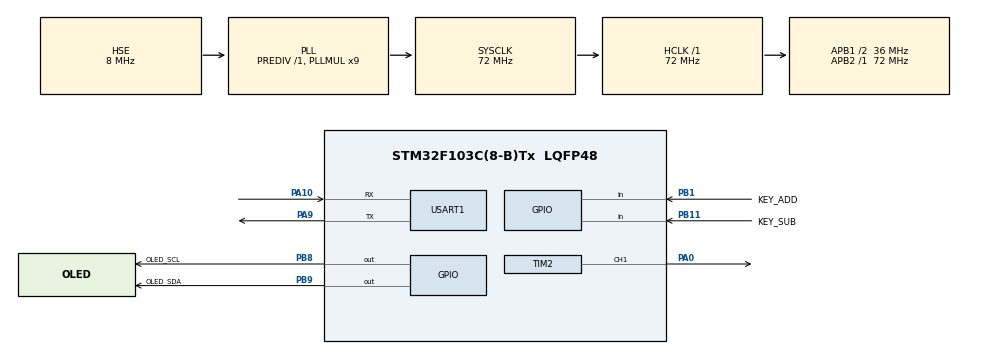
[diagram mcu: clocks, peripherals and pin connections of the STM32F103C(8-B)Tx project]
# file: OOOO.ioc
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Mcu.Family=STM32F1
Mcu.Name=STM32F103C(8-B)Tx
Mcu.Package=LQFP48
NVIC.PriorityGroup=NVIC_PRIORITYGROUP_4
PA0-WKUP.Signal=S_TIM2_CH1_ETR
PA10.Mode=Asynchronous
PA10.Signal=USART1_RX
PA13.Mode=Serial_Wire
PA13.Signal=SYS_JTMS-SWDIO
PA14.Mode=Serial_Wire
PA14.Signal=SYS_JTCK-SWCLK
PA9.Mode=Asynchronous
PA9.Signal=USART1_TX
PB1.GPIO_Label=KEY_ADD
PB1.GPIO_PuPd=GPIO_PULLUP
PB1.Signal=GPIO_Input
PB11.GPIO_Label=KEY_SUB
PB11.GPIO_PuPd=GPIO_PULLUP
PB11.Signal=GPIO_Input
PB8.GPIO_Label=OLED_SCL
PB8.GPIO_ModeDefaultOutputPP=GPIO_MODE_OUTPUT_OD
PB8.GPIO_PuPd=GPIO_NOPULL
PB8.PinState=GPIO_PIN_SET
PB8.Signal=GPIO_Output
PB9.GPIO_Label=OLED_SDA
PB9.GPIO_ModeDefaultOutputPP=GPIO_MODE_OUTPUT_OD
PB9.GPIO_PuPd=GPIO_NOPULL
PB9.PinState=GPIO_PIN_SET
PB9.Signal=GPIO_Output
PD0-OSC_IN.Mode=HSE-External-Oscillator
PD0-OSC_IN.Signal=RCC_OSC_IN
PD1-OSC_OUT.Mode=HSE-External-Oscillator
PD1-OSC_OUT.Signal=RCC_OSC_OUT
ProjectManager.HeapSize=0x200
ProjectManager.StackSize=0x400
ProjectManager.TargetToolchain=STM32CubeIDE
RCC.AHBFreq_Value=72000000
RCC.APB1CLKDivider=RCC_HCLK_DIV2
RCC.APB1Freq_Value=36000000
RCC.APB1TimFreq_Value=72000000
RCC.APB2Freq_Value=72000000
RCC.APB2TimFreq_Value=72000000
RCC.HCLKFreq_Value=72000000
RCC.PLLMUL=RCC_PLL_MUL9
RCC.PLLSourceVirtual=RCC_PLLSOURCE_HSE
RCC.SYSCLKFreq_VALUE=72000000
RCC.SYSCLKSource=RCC_SYSCLKSOURCE_PLLCLK
RCC.USBFreq_Value=72000000
SH.S_TIM2_CH1_ETR.0=TIM2_CH1,PWM Generation1 CH1
TIM2.AutoReloadPreload=TIM_AUTORELOAD_PRELOAD_ENABLE
TIM2.Channel-PWM\ Generation1\ CH1=TIM_CHANNEL_1
TIM2.Period=19999
TIM2.Prescaler=71
TIM2.Pulse-PWM\ Generation1\ CH1=1500
USART1.VirtualMode=VM_ASYNC
VP_TIM2_VS_ClockSourceINT.Mode=Internal
board=custom

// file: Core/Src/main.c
/* USER CODE BEGIN Header */
/**
  ******************************************************************************
  * @file           : main.c
  * @brief          : Main program body
  ******************************************************************************
  * @attention
  *
  * Copyright (c) 2026 STMicroelectronics.
  * All rights reserved.
  *
  * This software is licensed under terms that can be found in the LICENSE file
  * in the root directory of this software component.
  * If no LICENSE file comes with this software, it is provided AS-IS.
  *
  ******************************************************************************
  */
/* USER CODE END Header */
#include "main.h"
#include "tim.h"
#include "usart.h"
#include "gpio.h"

/* USER CODE BEGIN Includes */
#include "OLED.h"
#include <stdio.h>
/* USER CODE END Includes */

/* USER CODE BEGIN PTD */
typedef struct
{
  const float *seq;
  uint8_t      len;
  uint8_t      idx;
  uint32_t     tick;
  uint8_t      started;
  uint8_t      done;
} Seq_t;

typedef struct
{
  GPIO_TypeDef *port;
  uint16_t      pin;
  uint8_t       raw;
  uint8_t       stable;
  uint32_t      t_change;
} Key_t;
/* USER CODE END PTD */

/* USER CODE BEGIN PD */
#define SERVO_CCR_MIN    550u
#define SERVO_CCR_MAX    2450u
#define SERVO_CCR_MID    1500u

#define SEQ_LEN          5u
#define SEQ_INTERVAL_MS  1000u

#define KEY_STEP_DEG     15.0f
#define KEY_DEBOUNCE_MS  20u
/* USER CODE END PD */

/* USER CODE BEGIN PV */
static float g_angle = 90.0f;

static const float g_seq[SEQ_LEN] = {0.0f, 45.0f, 90.0f, 135.0f, 180.0f};
static Seq_t g_sched = { g_seq, SEQ_LEN, 0, 0, 0, 0 };

static float g_shown_deg = -1.0f;

static Key_t g_key_add = { KEY_ADD_GPIO_Port, KEY_ADD_Pin,  1, 1, 0 };
static Key_t g_key_sub = { KEY_SUB_GPIO_Port, KEY_SUB_Pin,  1, 1, 0 };
/* USER CODE END PV */

void SystemClock_Config(void);

/* USER CODE BEGIN 0 */
static uint16_t Servo_AngleToCCR(float angle)
{
  float ccr;

  if (angle < 0.0f)   angle = 0.0f;
  if (angle > 180.0f) angle = 180.0f;

  ccr = 500.0f + angle / 180.0f * 2000.0f;

  if (ccr < (float)SERVO_CCR_MIN) ccr = (float)SERVO_CCR_MIN;
  if (ccr > (float)SERVO_CCR_MAX) ccr = (float)SERVO_CCR_MAX;

  return (uint16_t)ccr;
}

static void Servo_SetAngle(float angle)
{
  __HAL_TIM_SET_COMPARE(&htim2, TIM_CHANNEL_1, Servo_AngleToCCR(angle));
}

static void Servo_Init(void)
{
  __HAL_TIM_SET_COMPARE(&htim2, TIM_CHANNEL_1, SERVO_CCR_MID);
  HAL_TIM_PWM_Start(&htim2, TIM_CHANNEL_1);
}

static void Servo_ShowUI(float angle)
{
  uint32_t deg = (uint32_t)(angle + 0.5f);
  uint16_t ccr = Servo_AngleToCCR(angle);

  OLED_ShowString(1, 1,  "Target:");
  OLED_ShowNum(1, 9, deg, 3);
  OLED_ShowString(1, 12, "deg");

  OLED_ShowString(2, 1,  "CCR   :");
  OLED_ShowNum(2, 9, ccr, 4);

  OLED_ShowString(3, 1,  "Pulse :");
  OLED_ShowNum(3, 9, ccr / 1000, 1);
  OLED_ShowString(3, 10, ".");
  OLED_ShowNum(3, 11, ccr % 1000, 3);
  OLED_ShowString(3, 14, "ms");
}

static void Servo_Apply(void)
{
  uint32_t deg = (uint32_t)(g_angle + 0.5f);
  uint16_t ccr = Servo_AngleToCCR(g_angle);

  Servo_SetAngle(g_angle);

  printf("Target=%3u  CCR=%4u  Pulse=%u.%03ums\r\n",
         (unsigned)deg, (unsigned)ccr,
         (unsigned)(ccr / 1000), (unsigned)(ccr % 1000));
}

static void Seq_Poll(void)
{
  if (g_sched.done) return;

  if (g_sched.started &&
      (HAL_GetTick() - g_sched.tick) < SEQ_INTERVAL_MS)
    return;

  g_sched.tick    = HAL_GetTick();
  g_sched.started = 1;

  g_angle = g_sched.seq[g_sched.idx];
  Servo_Apply();

  g_sched.idx++;
  if (g_sched.idx >= g_sched.len)
    g_sched.idx = 0;
}

static uint8_t Key_Edge(Key_t *k)
{
  uint8_t raw = (HAL_GPIO_ReadPin(k->port, k->pin) == GPIO_PIN_RESET) ? 0 : 1;

  if (raw != k->raw)
  {
    k->raw = raw;
    k->t_change = HAL_GetTick();
    return 0;
  }

  if (raw != k->stable && (HAL_GetTick() - k->t_change) >= KEY_DEBOUNCE_MS)
  {
    k->stable = raw;
    return (uint8_t)(k->stable == 0);
  }

  return 0;
}

static void Key_Poll(void)
{
  if (Key_Edge(&g_key_add))
  {
    g_sched.done = 1;
    g_angle += KEY_STEP_DEG;
    if (g_angle > 180.0f) g_angle = 180.0f;
    Servo_Apply();
  }

  if (Key_Edge(&g_key_sub))
  {
    g_sched.done = 1;
    g_angle -= KEY_STEP_DEG;
    if (g_angle < 0.0f) g_angle = 0.0f;
    Servo_Apply();
  }
}

static void Ui_Refresh(void)
{
  if (g_shown_deg == g_angle) return;
  g_shown_deg = g_angle;
  Servo_ShowUI(g_angle);
}
/* USER CODE END 0 */

int main(void)
{

  /* MCU Configuration--------------------------------------------------------*/

  /* Reset of all peripherals, Initializes the Flash interface and the Systick. */
  HAL_Init();

  /* Configure the system clock */
  SystemClock_Config();

  /* Initialize all configured peripherals */
  MX_GPIO_Init();
  MX_TIM2_Init();
  MX_USART1_UART_Init();
  /* USER CODE BEGIN 2 */
  OLED_Init();
  setvbuf(stdout, NULL, _IONBF, 0);

  Servo_Init();

  g_key_add.t_change = HAL_GetTick();
  g_key_sub.t_change = HAL_GetTick();
  /* USER CODE END 2 */

  /* Infinite loop */
  while (1)
  {

    /* USER CODE BEGIN 3 */
    Seq_Poll();
    Key_Poll();
    Ui_Refresh();
  }
  /* USER CODE END 3 */
}

void SystemClock_Config(void)
{
  RCC_OscInitTypeDef RCC_OscInitStruct = {0};
  RCC_ClkInitTypeDef RCC_ClkInitStruct = {0};

  /** Initializes the RCC Oscillators according to the specified parameters
  * in the RCC_OscInitTypeDef structure.
  */
  RCC_OscInitStruct.OscillatorType = RCC_OSCILLATORTYPE_HSE;
  RCC_OscInitStruct.HSEState = RCC_HSE_ON;
  RCC_OscInitStruct.HSEPredivValue = RCC_HSE_PREDIV_DIV1;
  RCC_OscInitStruct.HSIState = RCC_HSI_ON;
  RCC_OscInitStruct.PLL.PLLState = RCC_PLL_ON;
  RCC_OscInitStruct.PLL.PLLSource = RCC_PLLSOURCE_HSE;
  RCC_OscInitStruct.PLL.PLLMUL = RCC_PLL_MUL9;
  if (HAL_RCC_OscConfig(&RCC_OscInitStruct) != HAL_OK)
  {
    Error_Handler();
  }

  /** Initializes the CPU, AHB and APB buses clocks
  */
  RCC_ClkInitStruct.ClockType = RCC_CLOCKTYPE_HCLK|RCC_CLOCKTYPE_SYSCLK
                              |RCC_CLOCKTYPE_PCLK1|RCC_CLOCKTYPE_PCLK2;
  RCC_ClkInitStruct.SYSCLKSource = RCC_SYSCLKSOURCE_PLLCLK;
  RCC_ClkInitStruct.AHBCLKDivider = RCC_SYSCLK_DIV1;
  RCC_ClkInitStruct.APB1CLKDivider = RCC_HCLK_DIV2;
  RCC_ClkInitStruct.APB2CLKDivider = RCC_HCLK_DIV1;

  if (HAL_RCC_ClockConfig(&RCC_ClkInitStruct, FLASH_LATENCY_2) != HAL_OK)
  {
    Error_Handler();
  }
}

/* USER CODE BEGIN 4 */
int _write(int fd, char *ptr, int len)
{
  (void)fd;
  HAL_UART_Transmit(&huart1, (uint8_t *)ptr, (uint16_t)len, 100);
  return len;
}
/* USER CODE END 4 */

void Error_Handler(void)
{
  __disable_irq();
  while (1)
  {
  }
}
